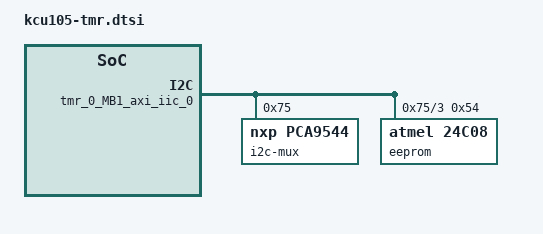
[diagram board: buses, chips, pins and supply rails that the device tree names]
// SPDX-License-Identifier: GPL-2.0+
/*
 * dts file for Xilinx Microblaze kcu105-tmr.
 *
 * (C) Copyright 2021-2022 Xilinx, Inc.
 * (C) Copyright 2022-2023 Advanced Micro Devices, Inc. All Rights Reserved.
 *
 * Venkatesh Yadav Abbarapu <venkatesh.abbarapu@xilinx.com>
 */

&tmr_0_MB1_axi_iic_0 {
	#address-cells = <1>;
	#size-cells = <0>;
	i2c-mux@75 {
		compatible = "nxp,pca9544";
		#address-cells = <1>;
		#size-cells = <0>;
		reg = <0x75>;
		i2c@3 {
			#address-cells = <1>;
			#size-cells = <0>;
			reg = <3>;
			eeprom@54 {
				compatible = "atmel,24c08";
				reg = <0x54>;
			};
		};
	};
};
